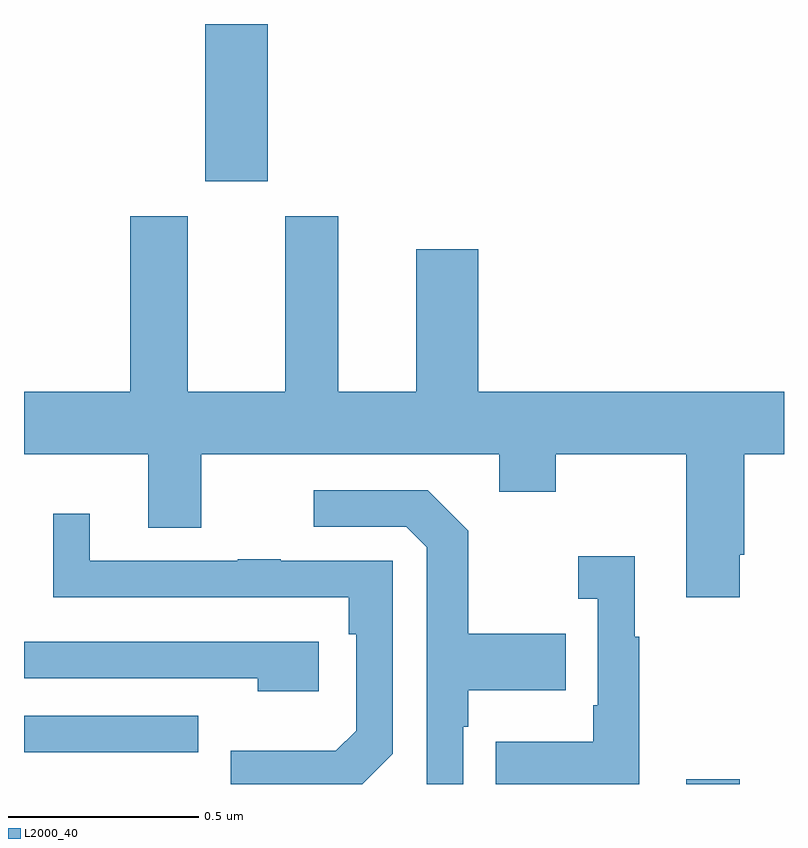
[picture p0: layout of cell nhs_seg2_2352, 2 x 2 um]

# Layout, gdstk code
import gdstk
lib = gdstk.Library(unit=1e-6, precision=1e-09)
def R(c, l, rs):  # rectangles x0, y0, x1, y1
    for r in rs: c.add(gdstk.rectangle(r[:2], r[2:], *l))
def P(c, l, *ps):  # polygons
    for p in ps: c.add(gdstk.Polygon(p, *l))
L2000_40 = (2000, 40)

nhs_seg2_2352 = lib.new_cell('nhs_seg2_2352')
R(nhs_seg2_2352, L2000_40, [(141.743,614.8,141.883,614.812), (140,614.883,140.459,614.979), (140.477,616.386,140.641,616.8)])
P(nhs_seg2_2352, L2000_40, [(140.327,615.474),(140.467,615.474),(140.467,615.668),(141.251,615.668),(141.251,615.569),(141.399,615.569),(141.399,615.668),(141.743,615.668),(141.743,615.291),(141.883,615.291),(141.883,615.403),(141.896,615.403),(141.896,615.668),(142,615.668),(142,615.832),(141.196,615.832),(141.196,616.207),(141.032,616.207),(141.032,615.832),(140.827,615.832),(140.827,616.294),(140.687,616.294),(140.687,615.832),(140.431,615.832),(140.431,616.294),(140.279,616.294),(140.279,615.832),(140,615.832),(140,615.668),(140.327,615.668)],
  [(141.156,614.951),(141.169,614.951),(141.169,615.047),(141.425,615.047),(141.425,615.195),(141.169,615.195),(141.169,615.467),(141.063,615.573),(140.763,615.573),(140.763,615.477),(141.006,615.477),(141.06,615.423),(141.06,614.8),(141.156,614.8)],
  [(140.97,614.88),(140.97,615.387),(140.675,615.387),(140.675,615.392),(140.563,615.392),(140.563,615.387),(140.173,615.387),(140.173,615.511),(140.077,615.511),(140.077,615.292),(140.179,615.292),(140.179,615.291),(140.854,615.291),(140.854,615.194),(140.874,615.194),(140.874,614.94),(140.821,614.887),(140.544,614.887),(140.544,614.8),(140.89,614.8)],
  [(141.619,615.187),(141.607,615.187),(141.607,615.4),(141.459,615.4),(141.459,615.287),(141.51,615.287),(141.51,615.007),(141.498,615.007),(141.498,614.911),(141.241,614.911),(141.241,614.8),(141.619,614.8)],
  [(140.776,615.174),(140,615.174),(140,615.078),(140.615,615.078),(140.615,615.044),(140.776,615.044)])

lib.write_gds('nhs_seg2_2352.gds')
